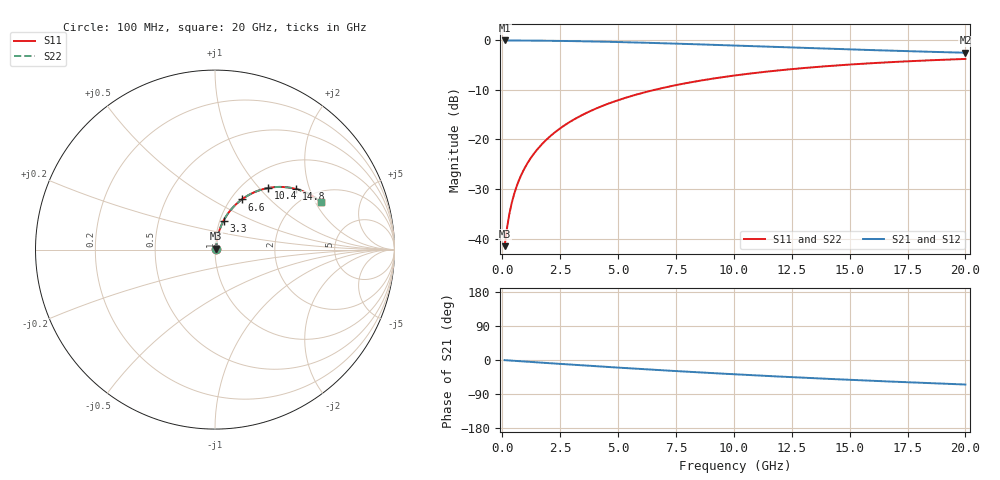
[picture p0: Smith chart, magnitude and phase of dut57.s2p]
! Touchstone file exported from HFSS 2026.1.0
!  File:  C:/ffzhzh/LocalFiles/Ansys_Project_Files/temp_train_BSMRDL_57_1782882666_43084.aedt
!  Generated:  01:12:36 PM Jul  1, 2026
!  Design:  BSMRDL
!  Project:  temp_train_BSMRDL_57_1782882666_43084
! Variables:
!  h_bsmrdl = 3.82um
!  h_ox = 20um
!  h_rdl = 5um
!  h_sub = 80um
!  h_tmrdl = 5um
!  h_tsv = 80um
!  h_via = 3um
!  l_bsmrdl = 961.38um
!  l_sub = 1361.38um
!  l_tmrdl = 200um
!  m_sub = 200um
!  pitch = 57.51um
!  r_tsv = 6um
!  s_tmrdl = 10um
!  w_bsmrdl = 13.87um
!  w_sub = 500um
!  w_tmrdl = 12um
!  x_tsv_center1 = 206um
!  x_tsv_center2 = 1181.25um
!  x_tsv_center3 = 1393.25um
!  x_tsv_center4 = 2368.5um
!  x_tsv_center5 = 2580.5um
!  x_tsv_center6 = 3555.75um
# GHz S MA R 50.000000
! Terminal data exported
! Port[1] = BSM_RDL1_1_T1
! Port[2] = BSM_RDL1_1_T2
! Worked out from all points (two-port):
!   200 points, 100 MHz to 20 GHz, reference 50 ohm
!   highest |S21| = -0.06 dB at 100 MHz (marker M1); lowest = -2.5 dB at 20 GHz (marker M2)
!   |S21| within 3 dB of the highest: start of sweep to end of sweep
!   lowest |S11| = -41.5 dB at 100 MHz (marker M3), VSWR 1.02, Z = 50.6 + j0.547 ohm
!   |S11| at or under -10 dB: start of sweep to 6.581 GHz
!   |S22| runs from -41.5 to -3.8 dB; largest |S21 - S12| = 3.2e-15
!   S11 on the Smith chart (normalised r, x): 100 MHz: 1.01, +0.01; 3.3 GHz: 1.04, +0.35; 6.6 GHz: 1.12, +0.70; 10.4 GHz: 1.29, +1.12; 14.8 GHz: 1.65, +1.63; 20 GHz: 2.45, +2.23
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0.1  0.008417 39.9  0.9936 -0.4  0.9936 -0.4  0.008417 39.9
! Gamma 0 0 0 0
! Port Impedance 50 0 50 0
0.2  0.01267 58.2  0.9934 -0.8  0.9934 -0.8  0.01267 58.2
0.3  0.01752 66.3  0.9932 -1.3  0.9932 -1.3  0.01752 66.3
0.4  0.02255 70.7  0.9929 -1.7  0.9929 -1.7  0.02255 70.7
0.5  0.02762 73.3  0.9927 -2.1  0.9927 -2.1  0.02762 73.3
0.7  0.03783 76.1  0.9921 -2.9  0.9921 -2.9  0.03783 76.1
1  0.05319 77.8  0.9912 -4.2  0.9912 -4.2  0.05319 77.8
1.4  0.07369 78.2  0.9896 -5.8  0.9896 -5.8  0.07369 78.2
1.9  0.0992 77.5  0.9871 -7.8  0.9871 -7.8  0.0992 77.5
2.5  0.1295 76.0  0.9832 -10.3  0.9832 -10.3  0.1295 76.0
3.3  0.169 73.5  0.9766 -13.5  0.9766 -13.5  0.169 73.5
3.5  0.1786 72.8  0.9747 -14.2  0.9747 -14.2  0.1786 72.8
4.9  0.2441 67.9  0.9593 -19.7  0.9593 -19.7  0.2441 67.9
6.6  0.317 61.8  0.9365 -26.0  0.9365 -26.0  0.317 61.8
6.8  0.3251 61.1  0.9336 -26.7  0.9336 -26.7  0.3251 61.2
8.3  0.3823 56.1  0.9108 -32.0  0.9108 -32.0  0.3823 56.1
10.1  0.443 50.3  0.8824 -37.9  0.8824 -37.9  0.4429 50.3
10.4  0.4523 49.3  0.8776 -38.9  0.8776 -38.9  0.4522 49.3
13.4  0.5331 40.5  0.831 -47.9  0.831 -47.9  0.5331 40.5
14.8  0.564 36.7  0.8107 -51.7  0.8107 -51.7  0.5639 36.8
16.7  0.5996 31.9  0.7851 -56.7  0.7851 -56.7  0.5996 31.9
20  0.6471 24.1  0.7476 -64.7  0.7476 -64.7  0.6471 24.1
